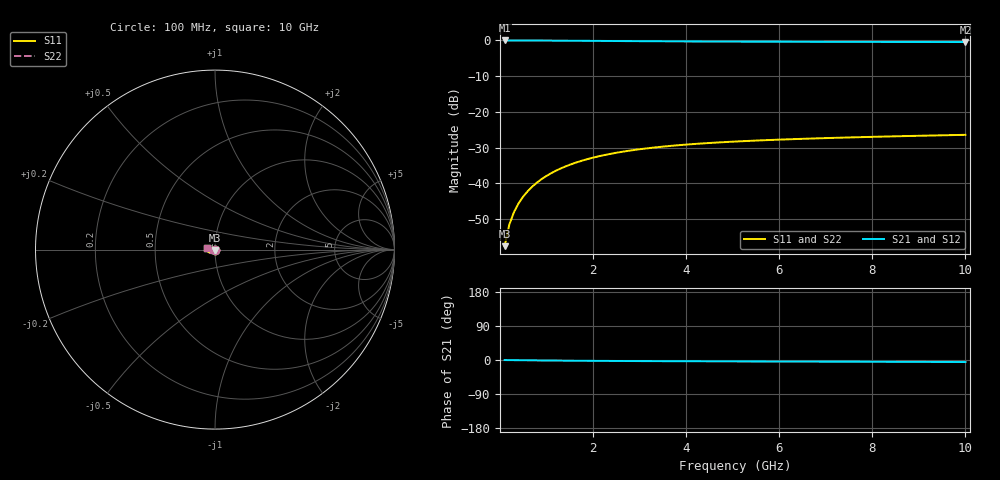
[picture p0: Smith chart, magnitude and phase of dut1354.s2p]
! Touchstone file exported from HFSS 2024.1.0
!  File:  C:/UserFiles/LocalFiles/RDL_TSV_Batchsim/temp_TSV1_1354_1780377534.aedt
!  Generated:  01:24:20 PM Jun  2, 2026
!  Design:  TSV1
!  Project:  temp_TSV1_1354_1780377534
!  Setup:  Setup1
!  Solution:  Sweep
! Variables:
!  dtsv = 10.83um
!  hbump = 3um
!  htsv = 82.34um
!  lrdl = 252.1521522um
!  p = 40
!  p1 = 55.74um
!  t = 500um
!  trdl = 3um
!  wrdl = 24.89489489um
# GHz S MA R 50.000000
! Terminal data exported
! Port[1] = TSV22_T1
! Port[2] = TSV22_T2
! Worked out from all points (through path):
!   100 points, 100 MHz to 10 GHz, reference 50 ohm
!   highest |S21| = 0.00 dB at 100 MHz (marker M1); lowest = -0.4 dB at 10 GHz (marker M2)
!   lowest |S11| = -57.6 dB at 100 MHz (marker M3), VSWR 1.00, Z = 50 - j0.132 ohm
!   |S11| at or under -10 dB: start of sweep to end of sweep
!   |S22| runs from -57.6 to -26.4 dB; largest |S21 - S12| = 3.3e-15
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0.1  0.001318 -86.5  0.9998 -0.1  0.9998 -0.1  0.001318 -86.5
! Gamma 0 0 0 0
! Port Impedance 50 0 50 0
0.2  0.002626 -91.1  0.9997 -0.3  0.9997 -0.3  0.002626 -91.1
0.3  0.003934 -93.9  0.9994 -0.4  0.9994 -0.4  0.003934 -93.9
0.4  0.005236 -96.2  0.9991 -0.5  0.9991 -0.5  0.005236 -96.2
0.5  0.006527 -98.4  0.9987 -0.7  0.9987 -0.7  0.006527 -98.4
0.6  0.007803 -100.6  0.9982 -0.8  0.9982 -0.8  0.007803 -100.6
0.7  0.009061 -102.6  0.9976 -0.9  0.9976 -0.9  0.009061 -102.6
0.8  0.0103 -104.6  0.997 -1.0  0.997 -1.0  0.0103 -104.6
0.9  0.01151 -106.6  0.9963 -1.1  0.9963 -1.1  0.01151 -106.6
1.1  0.01385 -110.4  0.9948 -1.4  0.9948 -1.4  0.01385 -110.4
1.4  0.01714 -115.8  0.9922 -1.7  0.9922 -1.7  0.01714 -115.8
1.6  0.01918 -119.2  0.9903 -1.9  0.9903 -1.9  0.01918 -119.2
1.8  0.02108 -122.5  0.9884 -2.0  0.9884 -2.0  0.02108 -122.5
2.1  0.02369 -127.2  0.9854 -2.3  0.9854 -2.3  0.02369 -127.2
2.5  0.02675 -132.9  0.9816 -2.6  0.9816 -2.6  0.02675 -132.9
2.9  0.02937 -138.1  0.9779 -2.8  0.9779 -2.8  0.02937 -138.1
3.4  0.03212 -143.9  0.9738 -3.0  0.9738 -3.0  0.03212 -143.9
4.2  0.0356 -152.0  0.9682 -3.4  0.9682 -3.4  0.0356 -152.0
5.1  0.03855 -159.7  0.9633 -3.7  0.9633 -3.7  0.03855 -159.7
6.7  0.04235 -170.7  0.9572 -4.2  0.9572 -4.2  0.04235 -170.7
8.4  0.04534 179.9  0.9531 -4.8  0.9531 -4.8  0.04534 179.9
10  0.04771 172.5  0.9504 -5.3  0.9504 -5.3  0.04771 172.5
